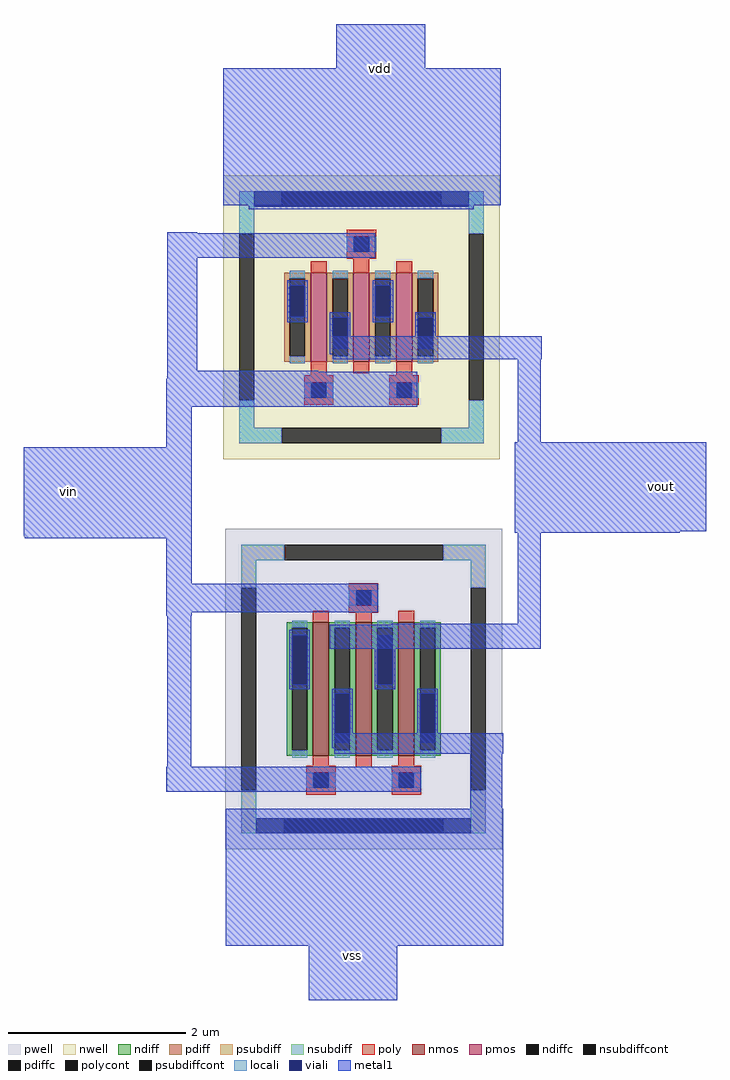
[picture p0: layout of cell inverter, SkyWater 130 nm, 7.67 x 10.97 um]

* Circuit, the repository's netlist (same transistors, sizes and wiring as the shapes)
* NGSPICE file created from inverter.ext - technology: sky130A

.subckt sky130_fd_pr__nfet_01v8_4BYZ28 a_n33_172# a_n275_n324# a_18_n150# a_114_n150#
+ a_n129_n238# a_63_n238# a_n78_n150#
X0 a_114_n150# a_63_n238# a_18_n150# a_n275_n324# sky130_fd_pr__nfet_01v8 ad=4.425e+11p pd=3.59e+06u as=4.5e+11p ps=3.6e+06u w=1.5e+06u l=180000u
X1 a_n78_n150# a_n129_n238# a_n173_n150# a_n275_n324# sky130_fd_pr__nfet_01v8 ad=4.5e+11p pd=3.6e+06u as=4.425e+11p ps=3.59e+06u w=1.5e+06u l=180000u
X2 a_18_n150# a_n33_172# a_n78_n150# a_n275_n324# sky130_fd_pr__nfet_01v8 ad=0p pd=0u as=0p ps=0u w=1.5e+06u l=180000u
.ends

.subckt sky130_fd_pr__pfet_01v8_2PCSPA a_n78_n100# a_n129_n197# a_63_n197# a_114_n100#
+ w_n311_n319# a_n33_131#
X0 a_18_n100# a_n33_131# a_n78_n100# w_n311_n319# sky130_fd_pr__pfet_01v8 ad=3e+11p pd=2.6e+06u as=3e+11p ps=2.6e+06u w=1e+06u l=180000u
X1 a_114_n100# a_63_n197# a_18_n100# w_n311_n319# sky130_fd_pr__pfet_01v8 ad=2.95e+11p pd=2.59e+06u as=0p ps=0u w=1e+06u l=180000u
X2 a_n78_n100# a_n129_n197# a_n173_n100# w_n311_n319# sky130_fd_pr__pfet_01v8 ad=0p pd=0u as=2.95e+11p ps=2.59e+06u w=1e+06u l=180000u
.ends

.subckt inverter vin vss vdd vout
XXM1 vin vss vout vss vin vin vss sky130_fd_pr__nfet_01v8_4BYZ28
Xsky130_fd_pr__pfet_01v8_2PCSPA_0 vout vin vin vout vdd vin sky130_fd_pr__pfet_01v8_2PCSPA
.ends

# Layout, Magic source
magic
tech sky130A
magscale 1 2
<< pwell >>
rect 192 762 572 808
rect 498 732 570 762
rect -186 676 -184 732
rect 498 594 570 676
<< metal1 >>
rect 196 2302 396 2402
rect -58 1994 566 2302
rect -184 1932 -116 1934
rect -184 1876 284 1932
rect -184 1622 -116 1876
rect 188 1648 658 1700
rect -184 1620 156 1622
rect -184 1604 378 1620
rect -186 1542 378 1604
rect -186 1450 -128 1542
rect 604 1462 656 1648
rect -506 1250 -128 1450
rect 598 1262 1028 1462
rect 598 1258 968 1262
rect -504 1246 -128 1250
rect -186 1144 -128 1246
rect -186 1080 290 1144
rect -186 1072 -128 1080
rect -184 732 -130 1072
rect 604 1054 656 1258
rect 320 1052 656 1054
rect 182 998 656 1052
rect 192 762 572 808
rect -186 676 386 732
rect 498 638 570 762
rect -52 330 572 638
rect 134 208 334 330
use sky130_fd_pr__nfet_01v8_4BYZ28  XM1
transform 1 0 258 0 1 907
box -311 -360 311 360
use sky130_fd_pr__pfet_01v8_2PCSPA  sky130_fd_pr__pfet_01v8_2PCSPA_0
transform 1 0 253 0 1 1743
box -311 -319 311 319
<< labels >>
flabel metal1 -506 1250 -306 1450 0 FreeSans 256 0 0 0 vin
port 0 nsew
flabel metal1 196 2202 396 2402 0 FreeSans 256 0 0 0 vdd
port 2 nsew
flabel metal1 828 1262 1028 1462 0 FreeSans 256 0 0 0 vout
port 3 nsew
flabel metal1 134 208 334 408 0 FreeSans 256 0 0 0 vss
port 1 nsew
<< end >>

# cell sky130_fd_pr__nfet_01v8_4BYZ28: kit device sky130_fd_pr__nfet_01v8, w 1.5 l 0.18 m 1 nf 3 diffcov 100 polycov 100 guard 1 glc 1 grc 1 gtc 1 gbc 1 tbcov 100 rlcov 100 topc 1 botc 1 poverlap 0 doverlap 1 lmin 0.15 wmin 0.42 compatible {sky130_fd_pr__nfet_01v8 sky130_fd_pr__nfet_01v8_lvt sky130_fd_bs_flash__special_sonosfet_star sky130_fd_pr__nfet_g5v0d10v5 sky130_fd_pr__nfet_05v0_nvt sky130_fd_pr__nfet_03v3_nvt} full_metal 1 viasrc {+ 40} viadrn {- 40} viagate 100 viagb 100 viagr 0 viagl 0 viagt 0

# cell sky130_fd_pr__pfet_01v8_2PCSPA: kit device sky130_fd_pr__pfet_01v8, w 1.0 l 0.18 m 1 nf 3 diffcov 100 polycov 100 guard 1 glc 1 grc 1 gtc 1 gbc 1 tbcov 100 rlcov 100 topc 1 botc 1 poverlap 0 doverlap 1 lmin 0.15 wmin 0.42 compatible {sky130_fd_pr__pfet_01v8 sky130_fd_pr__pfet_01v8_lvt sky130_fd_pr__pfet_01v8_hvt sky130_fd_pr__pfet_g5v0d10v5} full_metal 1 viasrc {+ 40} viadrn {- 40} viagate 100 viagb 0 viagr 0 viagl 0 viagt 100
